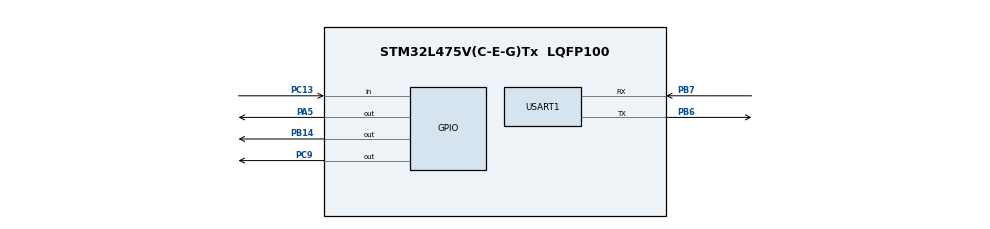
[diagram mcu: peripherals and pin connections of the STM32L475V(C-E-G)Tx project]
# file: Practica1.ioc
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Mcu.Family=STM32L4
Mcu.Name=STM32L475V(C-E-G)Tx
Mcu.Package=LQFP100
NVIC.PriorityGroup=NVIC_PRIORITYGROUP_4
PA5.Signal=GPIO_Output
PB14.Signal=GPIO_Output
PB6.Mode=Asynchronous
PB6.Signal=USART1_TX
PB7.Mode=Asynchronous
PB7.Signal=USART1_RX
PC13.Signal=GPIO_Input
PC9.Signal=GPIO_Output
PH0-OSC_IN\ (PH0).Mode=HSE-External-Oscillator
PH0-OSC_IN\ (PH0).Signal=RCC_OSC_IN
PH1-OSC_OUT\ (PH1).Mode=HSE-External-Oscillator
PH1-OSC_OUT\ (PH1).Signal=RCC_OSC_OUT
ProjectManager.HeapSize=0x200
ProjectManager.StackSize=0x400
ProjectManager.TargetToolchain=STM32CubeIDE
RCC.HSE_VALUE=8000000
RCC.HSI_VALUE=16000000
RCC.LSE_VALUE=32768
RCC.MSI_VALUE=4000000
RCC.VCOOutputFreq_Value=32000000
USART1.VirtualMode-Asynchronous=VM_ASYNC
board=custom

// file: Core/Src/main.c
/* USER CODE BEGIN Header */
/**
  ******************************************************************************
  * @file           : main.c
  * @brief          : Main program body
  ******************************************************************************
  * @attention
  *
  * Copyright (c) 2025 STMicroelectronics.
  * All rights reserved.
  *
  * This software is licensed under terms that can be found in the LICENSE file
  * in the root directory of this software component.
  * If no LICENSE file comes with this software, it is provided AS-IS.
  *
  ******************************************************************************
  */
/* USER CODE END Header */
#include "main.h"

/* USER CODE BEGIN Includes */
#include "joy_driver.h"
#include "led_driver.h"
#include <stdio.h>
/* USER CODE END Includes */

UART_HandleTypeDef huart1;

void SystemClock_Config(void);
static void MX_GPIO_Init(void);
static void MX_USART1_UART_Init(void);

int main(void)
{

  /* USER CODE BEGIN 1 */
	void animation1(void){
		LED_On(0);
		LED_On(1);
		LED_On(2);
		HAL_Delay(1500);
		LED_Off(0);
		LED_Off(1);
		LED_Off(2);
	}
	void animation2(void){
		LED_On(0);
		HAL_Delay(150);
		LED_On(1);
		HAL_Delay(150);
		LED_On(2);
		HAL_Delay(150);
		LED_Off(0);
		HAL_Delay(150);
		LED_Off(1);
		HAL_Delay(150);
		LED_Off(2);
	}
	void animation3(void){
		LED_On(0);
		HAL_Delay(500);
		LED_Off(0);
		LED_On(1);
		HAL_Delay(500);
		LED_Off(1);
		LED_On(2);
		HAL_Delay(500);
		LED_Off(2);

	}
	void animation4(void){
		for(int i = 0; i<25; i++){
			LED_On(0);
			LED_On(1);
			LED_On(2);
			HAL_Delay(150);
			LED_Off(0);
			LED_Off(1);
			LED_Off(2);
			HAL_Delay(150);
		}
	}

  /* USER CODE END 1 */

  /* MCU Configuration--------------------------------------------------------*/

  /* Reset of all peripherals, Initializes the Flash interface and the Systick. */
  HAL_Init();

  /* USER CODE BEGIN Init */
uint8_t res;
  /* USER CODE END Init */

  /* Configure the system clock */
  SystemClock_Config();

  /* Initialize all configured peripherals */
  MX_GPIO_Init();
  MX_USART1_UART_Init();

  /* Infinite loop */
  while (1)
  {

    /* USER CODE BEGIN 3 */
//	  uint8_t nLed;
//	  for(nLed=0;nLed<3;nLed++){
//		  LED_Off(nLed);
//		  HAL_Delay(200);
//		  LED_On(nLed);
//		  HAL_Delay(200);
//		  LED_Off(nLed);
//		  HAL_Delay(200);
//		  LED_Toggle(nLed);
//		  HAL_Delay(200);
//	  }
	  res = ReadJoy();
	  switch(res){
		  case 1:
			  animation1();
			  break;
		  case 2:
			  animation2();
		  	  break;
		  case 3:
			  animation3();
			  break;
		  case 4:
			  animation4();
			  break;
	  }
	  //printf("Joystick es: %d\n", res);

  }
  /* USER CODE END 3 */
}

void SystemClock_Config(void)
{
  RCC_OscInitTypeDef RCC_OscInitStruct = {0};
  RCC_ClkInitTypeDef RCC_ClkInitStruct = {0};

  /** Configure the main internal regulator output voltage
  */
  if (HAL_PWREx_ControlVoltageScaling(PWR_REGULATOR_VOLTAGE_SCALE1) != HAL_OK)
  {
    Error_Handler();
  }

  /** Initializes the RCC Oscillators according to the specified parameters
  * in the RCC_OscInitTypeDef structure.
  */
  RCC_OscInitStruct.OscillatorType = RCC_OSCILLATORTYPE_MSI;
  RCC_OscInitStruct.MSIState = RCC_MSI_ON;
  RCC_OscInitStruct.MSICalibrationValue = 0;
  RCC_OscInitStruct.MSIClockRange = RCC_MSIRANGE_6;
  RCC_OscInitStruct.PLL.PLLState = RCC_PLL_NONE;
  if (HAL_RCC_OscConfig(&RCC_OscInitStruct) != HAL_OK)
  {
    Error_Handler();
  }

  /** Initializes the CPU, AHB and APB buses clocks
  */
  RCC_ClkInitStruct.ClockType = RCC_CLOCKTYPE_HCLK|RCC_CLOCKTYPE_SYSCLK
                              |RCC_CLOCKTYPE_PCLK1|RCC_CLOCKTYPE_PCLK2;
  RCC_ClkInitStruct.SYSCLKSource = RCC_SYSCLKSOURCE_MSI;
  RCC_ClkInitStruct.AHBCLKDivider = RCC_SYSCLK_DIV1;
  RCC_ClkInitStruct.APB1CLKDivider = RCC_HCLK_DIV1;
  RCC_ClkInitStruct.APB2CLKDivider = RCC_HCLK_DIV1;

  if (HAL_RCC_ClockConfig(&RCC_ClkInitStruct, FLASH_LATENCY_0) != HAL_OK)
  {
    Error_Handler();
  }
}

static void MX_USART1_UART_Init(void)
{

  huart1.Instance = USART1;
  huart1.Init.BaudRate = 115200;
  huart1.Init.WordLength = UART_WORDLENGTH_8B;
  huart1.Init.StopBits = UART_STOPBITS_1;
  huart1.Init.Parity = UART_PARITY_NONE;
  huart1.Init.Mode = UART_MODE_TX_RX;
  huart1.Init.HwFlowCtl = UART_HWCONTROL_NONE;
  huart1.Init.OverSampling = UART_OVERSAMPLING_16;
  huart1.Init.OneBitSampling = UART_ONE_BIT_SAMPLE_DISABLE;
  huart1.AdvancedInit.AdvFeatureInit = UART_ADVFEATURE_NO_INIT;
  if (HAL_UART_Init(&huart1) != HAL_OK)
  {
    Error_Handler();
  }

}

static void MX_GPIO_Init(void)
{
  GPIO_InitTypeDef GPIO_InitStruct = {0};

  /* GPIO Ports Clock Enable */
  __HAL_RCC_GPIOC_CLK_ENABLE();
  __HAL_RCC_GPIOH_CLK_ENABLE();
  __HAL_RCC_GPIOA_CLK_ENABLE();
  __HAL_RCC_GPIOB_CLK_ENABLE();

  /*Configure GPIO pin Output Level */
  HAL_GPIO_WritePin(GPIOA, GPIO_PIN_5, GPIO_PIN_RESET);

  /*Configure GPIO pin Output Level */
  HAL_GPIO_WritePin(GPIOB, GPIO_PIN_14, GPIO_PIN_RESET);

  /*Configure GPIO pin Output Level */
  HAL_GPIO_WritePin(GPIOC, GPIO_PIN_9, GPIO_PIN_RESET);

  /*Configure GPIO pin : PC13 */
  GPIO_InitStruct.Pin = GPIO_PIN_13;
  GPIO_InitStruct.Mode = GPIO_MODE_INPUT;
  GPIO_InitStruct.Pull = GPIO_NOPULL;
  HAL_GPIO_Init(GPIOC, &GPIO_InitStruct);

  /*Configure GPIO pin : PA5 */
  GPIO_InitStruct.Pin = GPIO_PIN_5;
  GPIO_InitStruct.Mode = GPIO_MODE_OUTPUT_PP;
  GPIO_InitStruct.Pull = GPIO_NOPULL;
  GPIO_InitStruct.Speed = GPIO_SPEED_FREQ_LOW;
  HAL_GPIO_Init(GPIOA, &GPIO_InitStruct);

  /*Configure GPIO pin : PB14 */
  GPIO_InitStruct.Pin = GPIO_PIN_14;
  GPIO_InitStruct.Mode = GPIO_MODE_OUTPUT_PP;
  GPIO_InitStruct.Pull = GPIO_NOPULL;
  GPIO_InitStruct.Speed = GPIO_SPEED_FREQ_LOW;
  HAL_GPIO_Init(GPIOB, &GPIO_InitStruct);

  /*Configure GPIO pin : PC9 */
  GPIO_InitStruct.Pin = GPIO_PIN_9;
  GPIO_InitStruct.Mode = GPIO_MODE_OUTPUT_PP;
  GPIO_InitStruct.Pull = GPIO_NOPULL;
  GPIO_InitStruct.Speed = GPIO_SPEED_FREQ_LOW;
  HAL_GPIO_Init(GPIOC, &GPIO_InitStruct);

}

/* USER CODE BEGIN 4 */
int __io_putchar(int ch)
{
	uint8_t c[1];
	c[0] = ch & 0x00FF;
	HAL_UART_Transmit(&huart1, &*c, 1, 10);
	return ch;
}

/* USER CODE END 4 */

void Error_Handler(void)
{
  __disable_irq();
  while (1)
  {
  }
}
